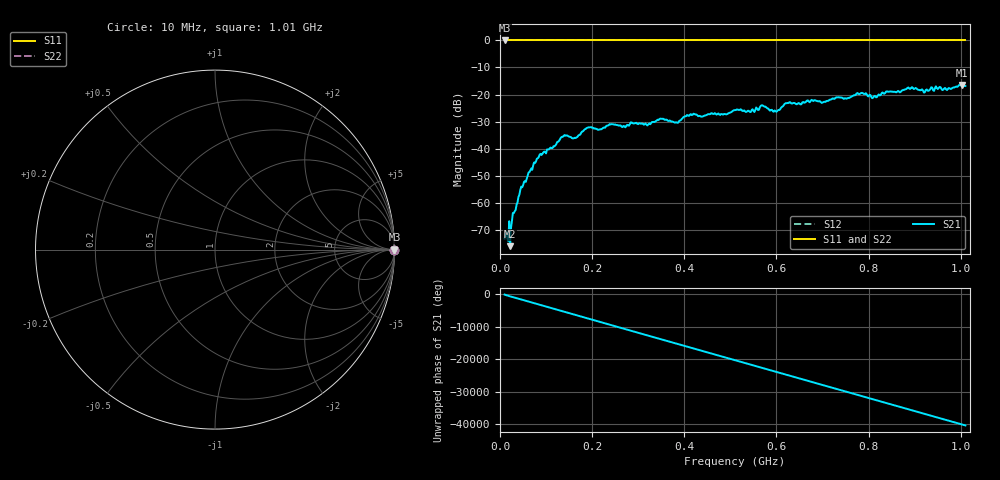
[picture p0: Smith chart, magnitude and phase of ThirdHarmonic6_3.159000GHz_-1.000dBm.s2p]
! 8/17/2025 9:28:53 AM
! C:\ANRITSUVNA\TEMP\TEMP.S2P
! CHANNEL.1
! TR.MEASUREMENT
! RAW.DATA
! RF.CORRECTION.OFF
! AVERAGING.OFF
! IF.BANDWIDTH: 5KHZ
! SWEEPTYPE:  FREQ.SWEEP(Linear)
! Reference Plane Port Info
! PORT:  PORT1  PORT2
! DISTANCE:  0  m  0  m
! TIME:  0  s  0  s
! PHASE.OFFSET:  0  deg.  0  deg.
! LOSS:  0  dB  0  dB
! REF.LOSS:  0  dB  0  dB
! REF.FREQ:  0  Hz  0  Hz
! Power Info
! POWER:  -20  dBm  -20  dBm
! EFF.POWER:  -20  dBm  -20  dBm
! SOURCE.ATTEN:  0  dB  0  dB
! TEST.ATTEN:  0  dB  0  dB
# GHZ S RI R 50.0
! FREQ.GHZ  S11RE  S11IM  S21RE  S21IM  S12RE  S12IM  S22RE  S22IM
!; PortSelection: Port_12
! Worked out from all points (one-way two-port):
!   501 points, 10 MHz to 1.01 GHz, reference 50 ohm
!   highest |S21| = -16.46 dB at 1.002 GHz (marker M1); lowest = -76.1 dB at 22 MHz (marker M2)
!   lowest |S11| = 0.0 dB at 10 MHz (marker M3)
!   |S11| at or under -10 dB: nowhere
!   |S22| runs from 0.0 to 0.0 dB; largest |S21 - S12| = 1.1
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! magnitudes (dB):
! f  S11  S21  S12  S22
! 10 MHz  0.0  -73.3  0.0  0.0
! 22 MHz  0.0  -76.1  0.0  0.0
! 30 MHz  0.0  -63.8  0.0  0.0
! 48 MHz  0.0  -54.3  0.0  0.0
! 84 MHz  0.0  -43.2  0.0  0.0
! 136 MHz  0.0  -35.7  0.0  0.0
! 162 MHz  0.0  -36.0  0.0  0.0
! 178 MHz  0.0  -33.7  0.0  0.0
! 194 MHz  0.0  -32.2  0.0  0.0
! 344 MHz  0.0  -29.4  0.0  0.0
! 382 MHz  0.0  -30.3  0.0  0.0
! 410 MHz  0.0  -27.9  0.0  0.0
! 510 MHz  0.0  -25.8  0.0  0.0
! 570 MHz  0.0  -24.1  0.0  0.0
! 598 MHz  0.0  -26.2  0.0  0.0
! 624 MHz  0.0  -23.1  0.0  0.0
! 678 MHz  0.0  -22.2  0.0  0.0
! 784 MHz  0.0  -19.4  0.0  0.0
! 812 MHz  0.0  -20.6  0.0  0.0
! 844 MHz  0.0  -19.0  0.0  0.0
! 1.002 GHz  0.0  -16.5  0.0  0.0
! 1.01 GHz  0.0  -16.8  0.0  0.0
